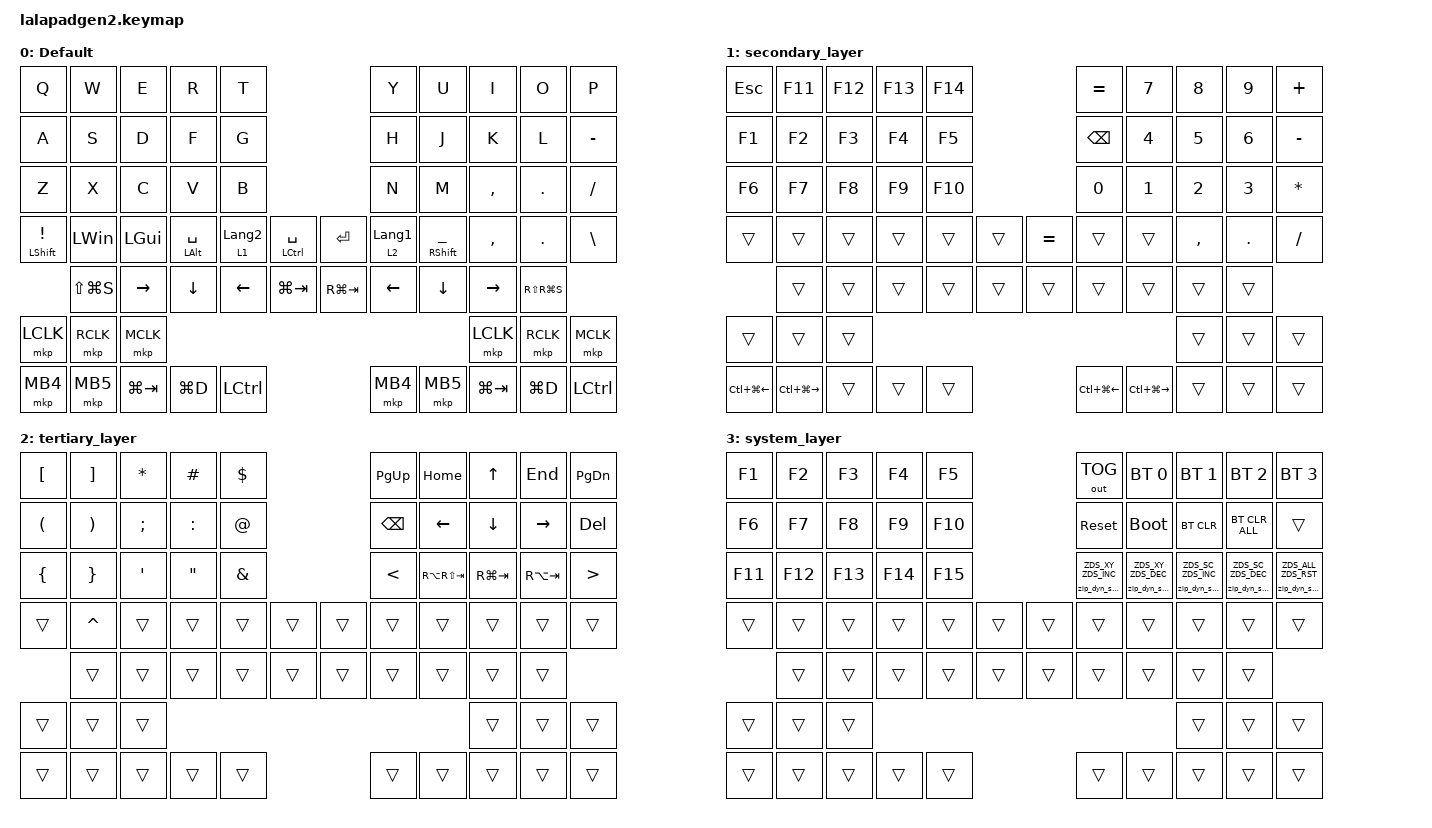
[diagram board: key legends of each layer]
#include <input/processors.dtsi>
#include <dt-bindings/zmk/zip_dynamic_scale.h>
#include <behaviors.dtsi>
#include <dt-bindings/zmk/bt.h>
#include <dt-bindings/zmk/keys.h>
#include <dt-bindings/zmk/outputs.h>
#include <dt-bindings/zmk/pointing.h>

#define DEFAULT_LAYER   0
#define SECONDARY_LAYER 1
#define TERTIARY_LAYER  2
#define SYSTEM_LAYER    3

&mt { quick-tap-ms = <200>; };

&lt { quick-tap-ms = <200>; };

/ {
    behaviors {
        zip_dyn_scale: zip_dyn_scale {
            compatible = "zmk,behavior-zip-dynamic-scale";
            #binding-cells = <2>;
        };

        zip_dyn_scale_set: zip_dyn_scale_set {
            compatible = "zmk,behavior-zip-dynamic-scale-set";
            #binding-cells = <2>;
        };

        mt2: mod_tap2 {
            compatible = "zmk,behavior-hold-tap";
            #binding-cells = <2>;
            flavor = "tap-preferred";
            tapping-term-ms = <200>;
            quick-tap-ms = <200>;
            require-prior-idle-ms = <125>;
            bindings = <&kp>, <&kp>;
        };

        tap_dance_layer_1and2: tap_dance_layer_1and2 {
            compatible = "zmk,behavior-tap-dance";
            label = "td_mo12";
            #binding-cells = <0>;
            bindings = <&mo 1>, <&mo 2>;
        };
    };

    combos {
        compatible = "zmk,combos";

        CONBO_ESC {
            bindings = <&kp ESCAPE>;
            key-positions = <3 2>;
        };

        COMBO_TAB {
            bindings = <&kp TAB>;
            key-positions = <12 13>;
        };
    };

    keymap {
        compatible = "zmk,keymap";

        DEFAULT_LAYER {
            display-name = "Default";
            bindings = <
&kp Q                &kp W          &kp E         &kp R               &kp T                                                  &kp Y             &kp U                       &kp I        &kp O          &kp P
&kp A                &kp S          &kp D         &kp F               &kp G                                                  &kp H             &kp J                       &kp K        &kp L          &kp MINUS
&kp Z                &kp X          &kp C         &kp V               &kp B                                                  &kp N             &kp M                       &kp COMMA    &kp PERIOD     &kp SLASH
&mt LEFT_SHIFT EXCL  &kp LWIN       &kp LEFT_GUI  &mt LEFT_ALT SPACE  &lt 1 LANGUAGE_2  &mt LEFT_CONTROL SPACE  &kp ENTER    &lt 2 LANGUAGE_1  &mt RIGHT_SHIFT UNDERSCORE  &kp COMMA    &kp DOT        &kp BACKSLASH
                     &kp LS(LG(S))  &kp RIGHT     &kp DOWN            &kp LEFT          &kp LG(TAB)             &kp RG(TAB)  &kp LEFT          &kp DOWN                    &kp RIGHT    &kp RS(RG(S))
&mkp LCLK            &mkp RCLK      &mkp MCLK                                                                                                                              &mkp LCLK    &mkp RCLK      &mkp MCLK
&mkp MB4             &mkp MB5       &kp LG(TAB)   &kp LG(D)           &kp LCTRL                                              &mkp MB4          &mkp MB5                    &kp LG(TAB)  &kp LG(D)      &kp LCTRL
            >;
        };

        SECONDARY_LAYER {
            display-name = "secondary_layer";
            bindings = <
&kp ESCAPE        &kp F11            &kp F12  &kp F13  &kp F14                     &kp EQUAL         &kp N7             &kp N8     &kp N9   &kp PLUS
&kp F1            &kp F2             &kp F3   &kp F4   &kp F5                      &kp BACKSPACE     &kp N4             &kp N5     &kp N6   &kp MINUS
&kp F6            &kp F7             &kp F8   &kp F9   &kp F10                     &kp N0            &kp N1             &kp N2     &kp N3   &kp ASTERISK
&trans            &trans             &trans   &trans   &trans   &trans  &kp EQUAL  &trans            &trans             &kp COMMA  &kp DOT  &kp SLASH
                  &trans             &trans   &trans   &trans   &trans  &trans     &trans            &trans             &trans     &trans
&trans            &trans             &trans                                                                             &trans     &trans   &trans
&kp LC(LG(LEFT))  &kp LC(LG(RIGHT))  &trans   &trans   &trans                      &kp LC(LG(LEFT))  &kp LC(LG(RIGHT))  &trans     &trans   &trans
            >;
        };

        TERTIARY_LAYER {
            display-name = "tertiary_layer";
            bindings = <
&kp LEFT_BRACKET      &kp RIGHT_BRACKET      &kp ASTERISK      &kp HASH           &kp DOLLAR                     &kp PAGE_UP    &kp HOME         &kp UP_ARROW    &kp END      &kp PAGE_DOWN
&kp LEFT_PARENTHESIS  &kp RIGHT_PARENTHESIS  &kp SEMICOLON     &kp COLON          &kp AT_SIGN                    &kp BACKSPACE  &kp LEFT         &kp DOWN_ARROW  &kp RIGHT    &kp DELETE
&kp LEFT_BRACE        &kp RIGHT_BRACE        &kp SINGLE_QUOTE  &kp DOUBLE_QUOTES  &kp AMPERSAND                  &kp LESS_THAN  &kp RA(RS(TAB))  &kp RG(TAB)     &kp RA(TAB)  &kp GREATER_THAN
&trans                &kp CARET              &trans            &trans             &trans         &trans  &trans  &trans         &trans           &trans          &trans       &trans
                      &trans                 &trans            &trans             &trans         &trans  &trans  &trans         &trans           &trans          &trans
&trans                &trans                 &trans                                                                                              &trans          &trans       &trans
&trans                &trans                 &trans            &trans             &trans                         &trans         &trans           &trans          &trans       &trans
            >;
        };

        SYSTEM_LAYER {
            display-name = "system_layer";
            bindings = <
&kp F1   &kp F2   &kp F3   &kp F4   &kp F5                   &out OUT_TOG                   &bt BT_SEL 0                   &bt BT_SEL 1                   &bt BT_SEL 2                   &bt BT_SEL 3
&kp F6   &kp F7   &kp F8   &kp F9   &kp F10                  &sys_reset                     &bootloader                    &bt BT_CLR                     &bt BT_CLR_ALL                 &trans
&kp F11  &kp F12  &kp F13  &kp F14  &kp F15                  &zip_dyn_scale ZDS_XY ZDS_INC  &zip_dyn_scale ZDS_XY ZDS_DEC  &zip_dyn_scale ZDS_SC ZDS_INC  &zip_dyn_scale ZDS_SC ZDS_DEC  &zip_dyn_scale ZDS_ALL ZDS_RST
&trans   &trans   &trans   &trans   &trans   &trans  &trans  &trans                         &trans                         &trans                         &trans                         &trans
         &trans   &trans   &trans   &trans   &trans  &trans  &trans                         &trans                         &trans                         &trans
&trans   &trans   &trans                                                                                                   &trans                         &trans                         &trans
&trans   &trans   &trans   &trans   &trans                   &trans                         &trans                         &trans                         &trans                         &trans
            >;
        };
    };

    conditional_layers {
        compatible = "zmk,conditional-layers";

        Cond_Syslayer {
            if-layers = <1 2>;
            then-layer = <3>;
        };
    };
};
